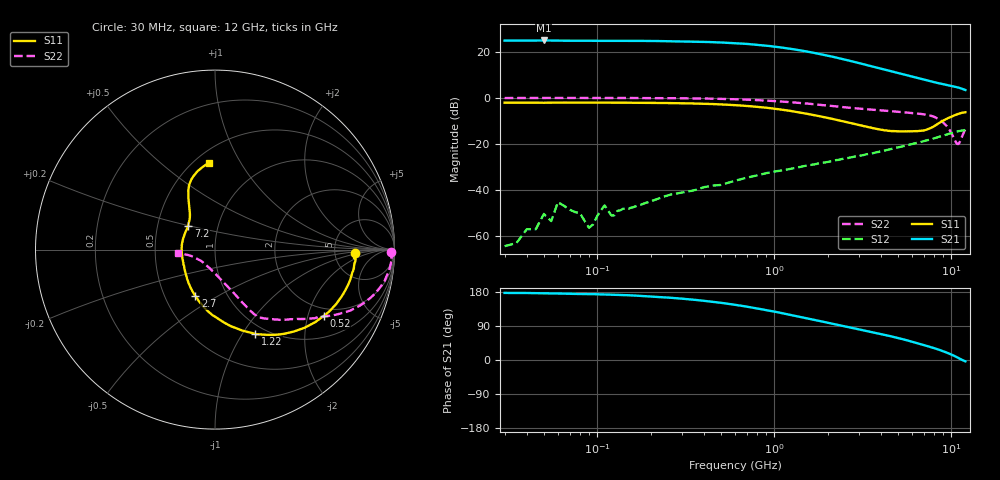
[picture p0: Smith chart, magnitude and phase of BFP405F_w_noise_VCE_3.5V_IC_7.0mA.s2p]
! Infineon Technologies  Discrete & RF Semiconductors
! BFP405F
! VCE =  3.5 V,  IC =  7.0 mA
! Common Emitter S-Parameters:  Nov 2015
# GHz  S  MA  R  50
!  f  S11  S21  S12  S22
! GHz  MAG  ANG  MAG  ANG  MAG  ANG  MAG  ANG
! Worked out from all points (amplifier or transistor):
!   239 points, 30 MHz to 12 GHz, reference 50 ohm
!   highest |S21| = 24.8 dB at 50 MHz (marker M1)
!   |S21| within 3 dB of that: start of sweep to 1.082 GHz
!   unconditionally stable (mu >= 1): 2.653 GHz to end of sweep
!   at 300 MHz: K = 0.10, MSG = 32.8 dB, |S12| = -41.2 dB
!   at 1.88 GHz: K = 0.77, MSG = 23.5 dB, |S12| = -28.2 dB
!   at 12 GHz: K = 1.42, MAG = 4.8 dB, |S12| = -14.0 dB
!   lowest NFmin = 1.45 dB at 450 MHz
!   S11 on the Smith chart (normalised r, x): 30 MHz: 7.97, -0.83; 520 MHz: 1.70, -2.53; 1.22 GHz: 0.89, -1.14; 2.7 GHz: 0.71, -0.40; 7.2 GHz: 0.72, +0.20; 12 GHz: 0.59, +0.74
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0.03  0.7791 -1.5  17.3 177.0  0.0006 -171.7  0.9827 -0.7
0.05  0.7756 -3.5  17.44 175.9  0.003 -17.9  0.9884 -1.3
0.055  0.7801 -3.5  17.34 175.7  0.0021 79.7  0.9899 -1.2
0.06  0.7846 -3.5  17.24 175.5  0.0054 113.1  0.9915 -1.2
0.085  0.7826 -5.2  17.18 174.0  0.0021 59.4  0.9849 -2.1
0.09  0.7813 -5.3  17.2 174.0  0.0015 26.2  0.9846 -2.3
0.11  0.7799 -6.8  17.11 172.9  0.0046 73.4  0.985 -2.8
0.14  0.7784 -8.9  17.11 171.5  0.0039 85.9  0.9861 -3.8
0.24  0.7665 -15.0  16.84 165.3  0.0072 85.5  0.9779 -6.4
0.38  0.742 -23.5  16.33 157.4  0.0107 79.1  0.9626 -10.1
0.52  0.7097 -31.4  15.63 149.9  0.0134 78.8  0.9385 -13.5
0.6  0.6894 -35.9  15.2 145.6  0.0158 75.7  0.9247 -15.3
0.9  0.6061 -50.8  13.46 131.6  0.023 73.0  0.8659 -21.1
1.22  0.5198 -64.5  11.58 119.6  0.0283 67.2  0.8012 -25.9
1.64  0.4259 -79.9  9.536 107.1  0.0352 64.7  0.7275 -30.6
2.18  0.3385 -98.0  7.596 94.6  0.0435 62.9  0.6529 -36.0
2.7  0.2812 -112.9  6.244 85.4  0.0503 61.3  0.6005 -40.0
3.5  0.2251 -133.8  4.857 74.2  0.0612 59.3  0.5512 -45.1
4.5  0.1903 -159.5  3.786 63.1  0.0758 56.8  0.5124 -49.5
7.2  0.2005 138.2  2.388 37.6  0.1168 48.6  0.4263 -58.4
10.8  0.4359 104.5  1.684 6.8  0.185 30.5  0.099 -122.0
12  0.4827 93.8  1.467 -3.6  0.1989 23.7  0.2083 -174.2
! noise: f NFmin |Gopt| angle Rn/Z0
0.45  1.45  0.3  6  0.34
0.9  1.46  0.28  11  0.34
1.5  1.52  0.26  16  0.3
1.9  1.56  0.24  24  0.3
2.4  1.71  0.23  32  0.32
3  1.77  0.21  45  0.29
3.5  1.82  0.19  53  0.28
4.5  1.97  0.15  59  0.2
5.5  2.17  0.08  66  0.07
